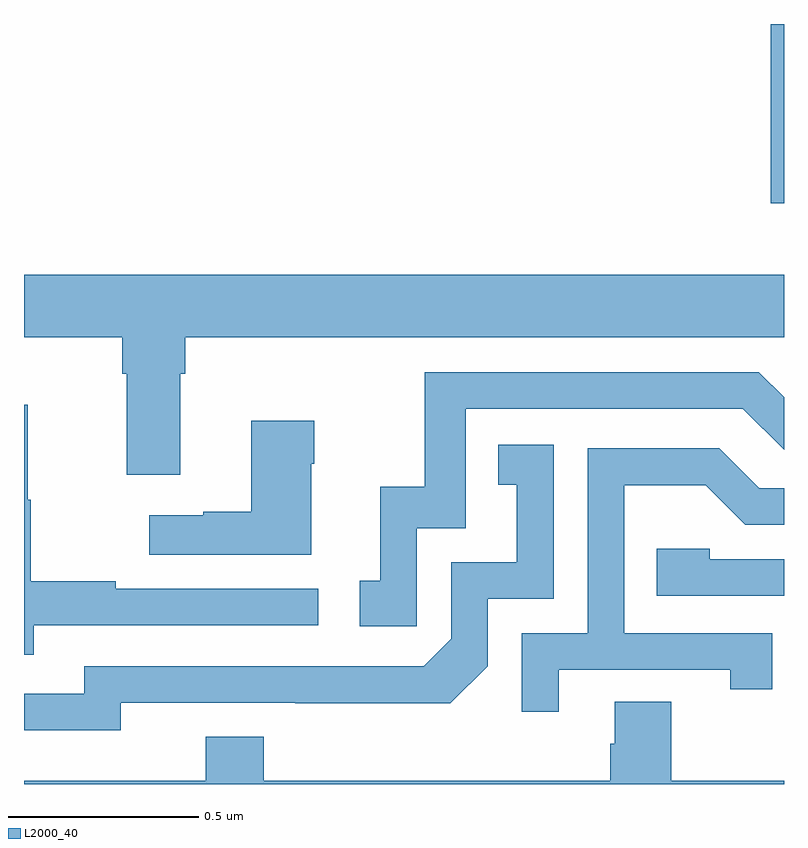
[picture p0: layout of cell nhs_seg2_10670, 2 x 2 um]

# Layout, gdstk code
import gdstk
lib = gdstk.Library(unit=1e-6, precision=1e-09)
def R(c, l, rs):  # rectangles x0, y0, x1, y1
    for r in rs: c.add(gdstk.rectangle(r[:2], r[2:], *l))
def P(c, l, *ps):  # polygons
    for p in ps: c.add(gdstk.Polygon(p, *l))
L2000_40 = (2000, 40)

nhs_seg2_10670 = lib.new_cell('nhs_seg2_10670')
R(nhs_seg2_10670, L2000_40, [(245.965,641.328,246,641.8)])
P(nhs_seg2_10670, L2000_40, [(244.411,640.88),(244.424,640.88),(244.424,640.976),(246,640.976),(246,641.14),(244,641.14),(244,640.976),(244.259,640.976),(244.259,640.88),(244.271,640.88),(244.271,640.614),(244.411,640.614)],
  [(245.034,640.473),(245.163,640.473),(245.163,640.788),(245.892,640.788),(246,640.68),(246,640.818),(245.934,640.884),(245.055,640.884),(245.055,640.582),(244.937,640.582),(244.937,640.335),(244.884,640.335),(244.884,640.215),(245.034,640.215)],
  [(244.025,640.218),(244.774,640.218),(244.774,640.314),(244.241,640.314),(244.241,640.334),(244.018,640.334),(244.018,640.548),(244.01,640.548),(244.01,640.798),(244,640.798),(244,640.14),(244.025,640.14)],
  [(244.756,640.643),(244.764,640.643),(244.764,640.756),(244.598,640.756),(244.598,640.517),(244.472,640.517),(244.472,640.507),(244.329,640.507),(244.329,640.403),(244.756,640.403)],
  [(244.254,640.014),(244.714,640.014),(244.714,640.013),(245.122,640.013),(245.22,640.11),(245.22,640.287),(245.394,640.287),(245.394,640.693),(245.248,640.693),(245.248,640.587),(245.297,640.587),(245.297,640.383),(245.124,640.383),(245.124,640.182),(245.052,640.11),(244.158,640.11),(244.158,640.038),(244,640.038),(244,639.941),(244.254,639.941)],
  [(245.407,640.101),(245.858,640.101),(245.858,640.05),(245.969,640.05),(245.969,640.197),(245.58,640.197),(245.58,640.586),(245.794,640.586),(245.898,640.482),(246,640.482),(246,640.578),(245.935,640.578),(245.83,640.683),(245.484,640.683),(245.484,640.197),(245.31,640.197),(245.31,639.99),(245.407,639.99)],
  [(246,640.392),(245.805,640.392),(245.805,640.419),(245.665,640.419),(245.665,640.296),(246,640.296)],
  [(246,639.808),(245.703,639.808),(245.703,640.016),(245.555,640.016),(245.555,639.906),(245.543,639.906),(245.543,639.808),(244.631,639.808),(244.631,639.925),(244.478,639.925),(244.478,639.808),(244,639.808),(244,639.8),(246,639.8)])

lib.write_gds('nhs_seg2_10670.gds')
